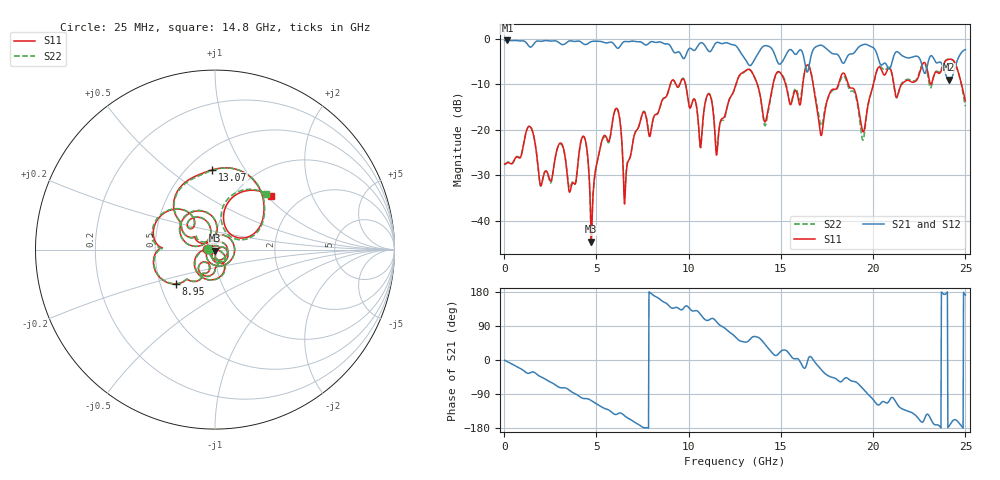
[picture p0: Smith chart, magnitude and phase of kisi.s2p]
! R_s4_rect_n1: Finite board 24 × 16 mm, via L1 → L4 through the L2/L3 cavity, one GND via 2 mm away
! stackup: 4-layer 1.6 mm FR-4
! ports: 1 L1, 2 L4
! kisi-fdtd, conformal, dfine 0.07 mm, 679236 cells
# Hz S RI R 50
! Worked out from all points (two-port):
!   1000 points, 25 MHz to 25 GHz, reference 50 ohm
!   highest |S21| = -0.37 dB at 175 MHz (marker M1); lowest = -9.0 dB at 24.12 GHz (marker M2)
!   |S21| within 3 dB of the highest: start of sweep to 9.571 GHz; 9.874 GHz to 12.87 GHz (2.998 GHz wide, 26.4 % of centre) (the widest 2 of 9)
!   lowest |S11| = -44.6 dB at 4.725 GHz (marker M3), VSWR 1.01, Z = 50.2 - j0.569 ohm
!   |S11| at or under -10 dB: start of sweep to 9.004 GHz; 9.831 GHz to 12.56 GHz (2.73 GHz wide, 24.4 % of centre); 16.75 GHz to 18.12 GHz (1.371 GHz wide, 7.86 % of centre) (the widest 3 of 10)
!   |S22| runs from -45.5 to -4.5 dB; largest |S21 - S12| = 3.1e-06
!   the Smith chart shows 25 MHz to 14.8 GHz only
!   S11 on the Smith chart (normalised r, x): 25 MHz: 0.92, +0.00; 8.95 GHz: 0.60, -0.25; 13.07 GHz: 0.65, +0.72; 14.8 GHz: 1.44, +1.05
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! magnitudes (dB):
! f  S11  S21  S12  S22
! 25 MHz  -27.5  -0.4  -0.4  -27.7
! 175 MHz  -27.2  -0.4  -0.4  -27.1
! 1.375 GHz  -19.2  -1.7  -1.7  -19.2
! 3.6 GHz  -33.1  -0.4  -0.4  -32.4
! 4.2 GHz  -22.0  -0.8  -0.8  -22.0
! 4.725 GHz  -44.6  -0.6  -0.6  -45.5
! 6.05 GHz  -15.4  -1.7  -1.7  -15.4
! 6.575 GHz  -32.4  -0.6  -0.6  -31.8
! 8.35 GHz  -16.2  -0.7  -0.7  -16.2
! 8.95 GHz  -10.7  -1.3  -1.3  -10.8
! 11.53 GHz  -25.5  -0.8  -0.8  -24.6
! 12.53 GHz  -10.5  -1.4  -1.4  -10.5
! 13.07 GHz  -7.0  -4.5  -4.5  -7.1
! 14.15 GHz  -18.3  -1.5  -1.5  -19.1
! 14.8 GHz  -7.3  -4.9  -4.9  -7.5
! 16.68 GHz  -8.3  -3.2  -3.2  -8.2
! 17.18 GHz  -21.2  -1.4  -1.4  -19.1
! 18.38 GHz  -7.5  -5.4  -5.4  -8.1
! 19.45 GHz  -20.4  -1.3  -1.3  -22.3
! 20.85 GHz  -6.4  -6.6  -6.6  -6.2
! 24.12 GHz  -4.5  -9.0  -9.0  -4.5
! 25 GHz  -13.6  -2.4  -2.4  -14.8
